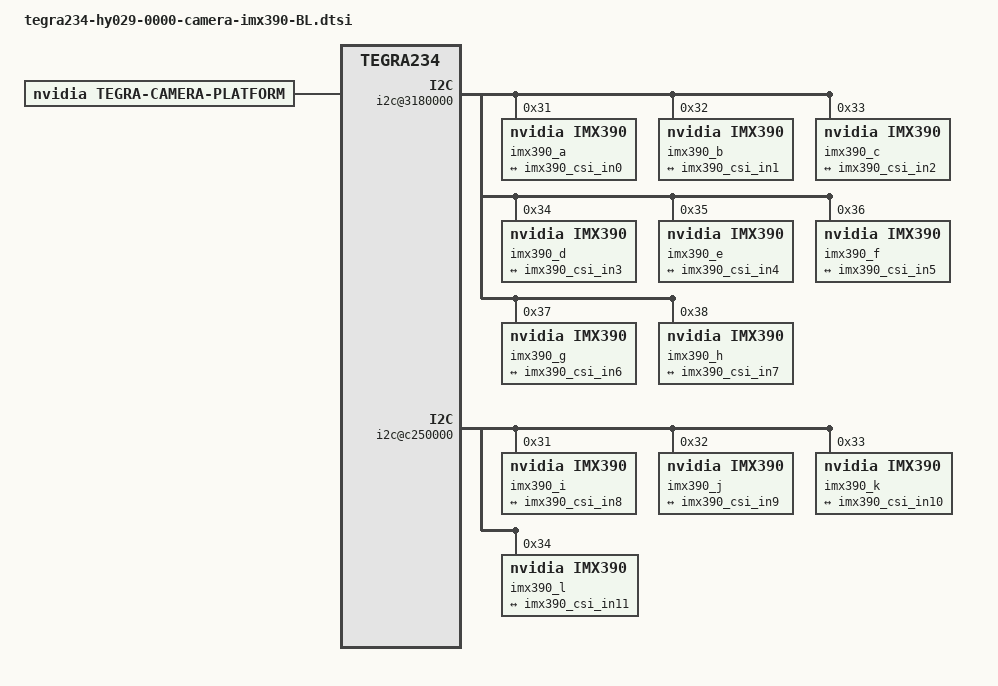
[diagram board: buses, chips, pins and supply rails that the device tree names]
/*
 * Copyright (c) 2018, NVIDIA CORPORATION.  All rights reserved.
 *
 * This program is free software; you can redistribute it and/or modify
 * it under the terms of the GNU General Public License as published by
 * the Free Software Foundation; either version 2 of the License, or
 * (at your option) any later version.
 *
 * This program is distributed in the hope that it will be useful, but WITHOUT
 * ANY WARRANTY; without even the implied warranty of MERCHANTABILITY or
 * FITNESS FOR A PARTICULAR PURPOSE.  See the GNU General Public License for
 * more details.
 *
 * You should have received a copy of the GNU General Public License
 * along with this program.  If not, see <http://www.gnu.org/licenses/>.
 */



/ {
		tegra-capture-vi {
			num-channels = <12>;
			/*num-channels = <8>;*/
			/*num-channels = <4>;*/
			ports {
				#address-cells = <1>;
				#size-cells = <0>;
            #if 1
				port@0 {
					reg = <0>;
					imx390_vi_in0: endpoint {
						devnode = "video1";
						vc-id = <0>;
						/*
						 * Port index is used to specify the connection between two different modules. 
						 * For the VI (video input) module, the port index represents the input stream. 
						 * For the CSI module, it represents the actual CSI port to which the camera is connected.
						 * see diagram for details.
						*/
						port-index = <0>;
						/* Number of CSI lanes connected to sensor; determines the bus width. */
						bus-width = <4>;
						remote-endpoint = <&imx390_csi_out0>;
					};
				};
				port@1 {
					reg = <1>;
					imx390_vi_in1: endpoint {
						devnode = "video0";
						vc-id = <1>;
						port-index = <0>;
						bus-width = <4>;
						remote-endpoint = <&imx390_csi_out1>;
					};
				};
				port@2 {
					reg = <2>;
					imx390_vi_in2: endpoint {
						devnode = "video3";
						vc-id = <2>;
						port-index = <0>;
						bus-width = <4>;
						remote-endpoint = <&imx390_csi_out2>;
					};
				};
				port@3 {
					reg = <3>;
					imx390_vi_in3: endpoint {
						devnode = "video2";
						vc-id = <3>;
						port-index = <0>;
						bus-width = <4>;
						remote-endpoint = <&imx390_csi_out3>;
					};
				};
            #endif
            #if 1
				port@4 {
					reg = <4>;
					imx390_vi_in4: endpoint {
						devnode = "video9";
						vc-id = <0>;
						port-index = <2>;
						bus-width = <4>;
						remote-endpoint = <&imx390_csi_out4>;
					};
				};
				port@5 {
					reg = <5>;
					imx390_vi_in5: endpoint {
						devnode = "video8";
						vc-id = <1>;
						port-index = <2>;
						bus-width = <4>;
						remote-endpoint = <&imx390_csi_out5>;
					};
				};	
				port@6 {
					reg = <6>;
					imx390_vi_in6: endpoint {
						devnode = "video11";
						vc-id = <2>;
						port-index = <2>;
						bus-width = <4>;
						remote-endpoint = <&imx390_csi_out6>;
					};
				};
				port@7 {
					reg = <7>;
					imx390_vi_in7: endpoint {
						devnode = "video10";
						vc-id = <3>;
						port-index = <2>;
						bus-width = <4>;
						remote-endpoint = <&imx390_csi_out7>;
					};
				};
            #endif

            #if 1
				port@8 {
					reg = <8>;
					imx390_vi_in8: endpoint {
						devnode = "video5";
						vc-id = <0>;
						port-index = <4>;
						bus-width = <4>;
						remote-endpoint = <&imx390_csi_out8>;
					};
				};
				port@9 {
					reg = <9>;
					imx390_vi_in9: endpoint {
						devnode = "video4";
						vc-id = <1>;
						port-index = <4>;
						bus-width = <4>;
						remote-endpoint = <&imx390_csi_out9>;
					};
				};	
				port@a {
					reg = <0xa>;
					imx390_vi_in10: endpoint {
						devnode = "video7";
						vc-id = <2>;
						port-index = <4>;
						bus-width = <4>;
						remote-endpoint = <&imx390_csi_out10>;
					};
				};
				port@b {
					reg = <0xb>;
					imx390_vi_in11: endpoint {
						devnode = "video6";
						vc-id = <3>;
						port-index = <4>;
						bus-width = <4>;
						remote-endpoint = <&imx390_csi_out11>;
					};
				};
            #endif
			};
		};

	host1x@13e00000 {
		nvcsi@15a00000 {
			num-channels = <12>;
			/*num-channels = <8>;*/
			/*num-channels = <4>;*/
			#address-cells = <1>;
			#size-cells = <0>;
        #if 1
			channel@0 {
				reg = <0>;
				ports {
					#address-cells = <1>;
					#size-cells = <0>;
					port@0 {
						reg = <0>;
						imx390_csi_in0: endpoint@0 {
						/*
						 * Port index is used to specify the connection between two different modules. 
						 * For the VI (video input) module, the port index represents the input stream. 
						 * For the CSI module, it represents the actual CSI port to which the camera is connected.
						 * see diagram for details.
						*/
							port-index = <0>;
							bus-width = <4>;
							remote-endpoint = <&imx390_imx390_out0>;
						};
					};

					port@1 {
						reg = <1>;
						imx390_csi_out0: endpoint@1 {
							remote-endpoint = <&imx390_vi_in0>;
						};
					};

				};
			};
			channel@1 {
				reg = <1>;
				ports {
					#address-cells = <1>;
					#size-cells = <0>;
					port@0 {
						reg = <0>;
						imx390_csi_in1: endpoint@2 {
							port-index = <0>;
							bus-width = <4>;
							remote-endpoint = <&imx390_imx390_out1>;
						};
					};
					port@1 {
						reg = <1>;
						imx390_csi_out1: endpoint@3 {
							remote-endpoint = <&imx390_vi_in1>;
						};
					};
				};
			};
			channel@2 {
				reg = <2>;
				ports {
					#address-cells = <1>;
					#size-cells = <0>;
					port@0 {
						reg = <0>;
						imx390_csi_in2: endpoint@4 {
							port-index = <0>;
							bus-width = <4>;
							remote-endpoint = <&imx390_imx390_out2>;
						};
					};
					port@1 {
						reg = <1>;
						imx390_csi_out2: endpoint@5 {
							remote-endpoint = <&imx390_vi_in2>;
						};
					};
				};
			};
			channel@3 {
				reg = <3>;
				ports {
					#address-cells = <1>;
					#size-cells = <0>;
					port@0 {
						reg = <0>;
						imx390_csi_in3: endpoint@6 {
							port-index = <0>;
							bus-width = <4>;
							remote-endpoint = <&imx390_imx390_out3>;
						};
					};
					port@1 {
						reg = <1>;
						imx390_csi_out3: endpoint@7 {
							remote-endpoint = <&imx390_vi_in3>;
						};
					};
				};
			};
        #endif
        #if 1
			channel@4 {
				reg = <4>;
				ports {
					#address-cells = <1>;
					#size-cells = <0>;
					port@0 {
						reg = <0>;
						imx390_csi_in4: endpoint@8 {
							/*port-index = <6>;*/
							port-index = <2>;
							bus-width = <4>;
							remote-endpoint = <&imx390_imx390_out4>;
						};
					};

					port@1 {
						reg = <1>;
						imx390_csi_out4: endpoint@9 {
							remote-endpoint = <&imx390_vi_in4>;
						};
					};

				};
			};
			channel@5 {
				reg = <5>;
				ports {
					#address-cells = <1>;
					#size-cells = <0>;
					port@0 {
						reg = <0>;
						imx390_csi_in5: endpoint@10 {
							port-index = <2>;
							bus-width = <4>;
							remote-endpoint = <&imx390_imx390_out5>;
						};
					};
					port@1 {
						reg = <1>;
						imx390_csi_out5: endpoint@11 {
							remote-endpoint = <&imx390_vi_in5>;
						};
					};
				};
			};
			channel@6 {
				reg = <6>;
				ports {
					#address-cells = <1>;
					#size-cells = <0>;
					port@0 {
						reg = <0>;
						imx390_csi_in6: endpoint@12 {
							port-index = <2>;
							bus-width = <4>;
							remote-endpoint = <&imx390_imx390_out6>;
						};
					};
					port@1 {
						reg = <1>;
						imx390_csi_out6: endpoint@13 {
							remote-endpoint = <&imx390_vi_in6>;
						};
					};
				};
			};
			channel@7 {
				reg = <7>;
				ports {
					#address-cells = <1>;
					#size-cells = <0>;
					port@0 {
						reg = <0>;
						imx390_csi_in7: endpoint@14 {
							port-index = <2>;
							bus-width = <4>;
							remote-endpoint = <&imx390_imx390_out7>;
						};
					};
					port@1 {
						reg = <1>;
						imx390_csi_out7: endpoint@15 {
							remote-endpoint = <&imx390_vi_in7>;
						};
					};
				};
			};
        #endif
        #if 1
			channel@8 {
				reg = <8>;
				ports {
					#address-cells = <1>;
					#size-cells = <0>;
					port@0 {
						reg = <0>;
						imx390_csi_in8: endpoint@16 {
							port-index = <4>;
							bus-width = <4>;
							remote-endpoint = <&imx390_imx390_out8>;
						};
					};

					port@1 {
						reg = <1>;
						imx390_csi_out8: endpoint@17 {
							remote-endpoint = <&imx390_vi_in8>;
						};
					};

				};
			};
			channel@9 {
				reg = <9>;
				ports {
					#address-cells = <1>;
					#size-cells = <0>;
					port@0 {
						reg = <0>;
						imx390_csi_in9: endpoint@18 {
							port-index = <4>;
							bus-width = <4>;
							remote-endpoint = <&imx390_imx390_out9>;
						};
					};
					port@1 {
						reg = <1>;
						imx390_csi_out9: endpoint@19 {
							remote-endpoint = <&imx390_vi_in9>;
						};
					};
				};
			};
			channel@a {
				reg = <0xa>;
				ports {
					#address-cells = <1>;
					#size-cells = <0>;
					port@0 {
						reg = <0>;
						imx390_csi_in10: endpoint@20 {
							port-index = <4>;
							bus-width = <4>;
							remote-endpoint = <&imx390_imx390_out10>;
						};
					};
					port@1 {
						reg = <1>;
						imx390_csi_out10: endpoint@21 {
							remote-endpoint = <&imx390_vi_in10>;
						};
					};
				};
			};
			channel@b {
				reg = <0xb>;
				ports {
					#address-cells = <1>;
					#size-cells = <0>;
					port@0 {
						reg = <0>;
						imx390_csi_in11: endpoint@22 {
							port-index = <4>;
							bus-width = <4>;
							remote-endpoint = <&imx390_imx390_out11>;
						};
					};
					port@1 {
						reg = <1>;
						imx390_csi_out11: endpoint@23 {
							remote-endpoint = <&imx390_vi_in11>;
						};
					};
				};
			};
        #endif
		};

	};

	i2c@3180000 {

			imx390_a@31 {
				compatible = "nvidia,imx390";
				reg = <0x31>;
				physical_w = "15.0";
				physical_h = "12.5";
				//def-mode = <0>;
				sensor_model ="imx390-BL";
				post_crop_frame_drop = "0";
				use_decibel_gain = "true";
				delayed_gain = "true";
				//use_sensor_mode_id = "true";
				mode0 {
					mclk_khz = "24000";
					num_lanes = "4";
					/* enable dphy */
					phy_mode = "DPHY";
					tegra_sinterface = "serial_a";
					vc_id = "0";
					discontinuous_clk = "no";
					dpcm_enable = "false";
					cil_settletime = "0";
					dynamic_pixel_bit_depth = "12";
					csi_pixel_bit_depth = "12";
					mode_type = "bayer";
					pixel_phase = "rggb";
					active_w = "1920";
					active_h = "1080";
					//pixel_t = "yuv_yuyv16";
					readout_orientation = "0";
					line_length = "2200";
					inherent_gain = "1";
					pix_clk_hz = "74250000";
					serdes_pix_clk_hz = "200000000";
					gain_factor = "10";
					min_gain_val = "0"; /* dB */
					max_gain_val = "300"; /* dB */
					step_gain_val = "3"; /* 0.3 */
					default_gain = "0";
					min_hdr_ratio = "1";
					max_hdr_ratio = "1";
					framerate_factor = "1000000";
					min_framerate = "30000000";
					max_framerate = "30000000";
					step_framerate = "1";
					default_framerate = "30000000";
					exposure_factor = "1000000";
					min_exp_time = "59"; /*us, 2 lines*/
					max_exp_time = "33333";
					step_exp_time = "1";
					default_exp_time = "33333";/* us */
					embedded_metadata_height = "0";
				};
				ports {
					#address-cells = <1>;
					#size-cells = <0>;
					port@0 {
						reg = <0>;
						imx390_imx390_out0: endpoint {
							vc-id = <0>;
							port-index = <0>;
							bus-width = <4>;
							remote-endpoint = <&imx390_csi_in0>;
							};
						};
					};
				gmsl-link {
					src-csi-port = "b";
					dst-csi-port = "b";
					serdes-csi-link = "a";
					csi-mode = "1x4";
					st-vc = <0>;
					vc-id = <0>;
					num-lanes = <4>;
					streams = "raw12";
					};
				};
			imx390_b@32 {
				compatible = "nvidia,imx390";
				reg = <0x32>;
				physical_w = "15.0";
				physical_h = "12.5";
				//def-mode = <0>;
				sensor_model ="imx390-BL";
				post_crop_frame_drop = "0";
				use_decibel_gain = "true";
				delayed_gain = "true";
				//use_sensor_mode_id = "true";
				mode0 {
					mclk_khz = "24000";
					num_lanes = "4";
					phy_mode = "DPHY";
					tegra_sinterface = "serial_a";
					vc_id = "1";
					discontinuous_clk = "no";
					dpcm_enable = "false";
					cil_settletime = "0";
					dynamic_pixel_bit_depth = "12";
					csi_pixel_bit_depth = "12";
					mode_type = "bayer";
					pixel_phase = "rggb";
					active_w = "1920";
					active_h = "1080";
					//pixel_t = "yuv_yuyv16";
					readout_orientation = "0";
					line_length = "2200";
					inherent_gain = "1";
					pix_clk_hz = "74250000";
					serdes_pix_clk_hz = "200000000";
					gain_factor = "10";
					min_gain_val = "0"; /* dB */
					max_gain_val = "300"; /* dB */
					step_gain_val = "3"; /* 0.3 */
					default_gain = "0";
					min_hdr_ratio = "1";
					max_hdr_ratio = "1";
					framerate_factor = "1000000";
					min_framerate = "30000000";
					max_framerate = "30000000";
					step_framerate = "1";
					default_framerate = "30000000";
					exposure_factor = "1000000";
					min_exp_time = "59"; /*us, 2 lines*/
					max_exp_time = "33333";
					step_exp_time = "1";
					default_exp_time = "33333";/* us */
					embedded_metadata_height = "0";
				};
				ports {
					#address-cells = <1>;
					#size-cells = <0>;
					port@0 {
						reg = <0>;
						imx390_imx390_out1: endpoint {
							vc-id = <1>;
							port-index = <0>;
							bus-width = <4>;
							remote-endpoint = <&imx390_csi_in1>;
							};
						};
					};
				gmsl-link {
					src-csi-port = "b";
					dst-csi-port = "b";
					serdes-csi-link = "b";
					csi-mode = "1x4";
					st-vc = <0>;
					vc-id = <1>;
					num-lanes = <4>;
					streams = "raw12";
					};
				};

			imx390_c@33 {
				compatible = "nvidia,imx390";
				reg = <0x33>;
				physical_w = "15.0";
				physical_h = "12.5";
				//def-mode = <0>;
				sensor_model ="imx390-BL";
				post_crop_frame_drop = "0";
				use_decibel_gain = "true";
				delayed_gain = "true";
				//use_sensor_mode_id = "true";
				mode0 {
					mclk_khz = "24000";
					num_lanes = "4";
					phy_mode = "DPHY";
					tegra_sinterface = "serial_a";
					vc_id = "2";
					discontinuous_clk = "no";
					dpcm_enable = "false";
					cil_settletime = "0";
					dynamic_pixel_bit_depth = "12";
					csi_pixel_bit_depth = "12";
					mode_type = "bayer";
					pixel_phase = "rggb";
					active_w = "1920";
					active_h = "1080";
					//pixel_t = "yuv_yuyv16";
					readout_orientation = "0";
					line_length = "2200";
					inherent_gain = "1";
					pix_clk_hz = "74250000";
					serdes_pix_clk_hz = "200000000";
					gain_factor = "10";
					min_gain_val = "0"; /* dB */
					max_gain_val = "300"; /* dB */
					step_gain_val = "3"; /* 0.3 */
					default_gain = "0";
					min_hdr_ratio = "1";
					max_hdr_ratio = "1";
					framerate_factor = "1000000";
					min_framerate = "30000000";
					max_framerate = "30000000";
					step_framerate = "1";
					default_framerate = "30000000";
					exposure_factor = "1000000";
					min_exp_time = "59"; /*us, 2 lines*/
					max_exp_time = "33333";
					step_exp_time = "1";
					default_exp_time = "33333";/* us */
					embedded_metadata_height = "0";
				};
				ports {
					#address-cells = <1>;
					#size-cells = <0>;
					port@0 {
						reg = <0>;
						imx390_imx390_out2: endpoint {
							vc-id = <2>;
							port-index = <0>;
							bus-width = <4>;
							remote-endpoint = <&imx390_csi_in2>;
							};
						};
					};
				gmsl-link {
					src-csi-port = "b";
					dst-csi-port = "b";
					serdes-csi-link = "c";
					csi-mode = "1x4";
					st-vc = <0>;
					vc-id = <2>;
					num-lanes = <4>;
					streams = "raw12";
					};
				};

			imx390_d@34{
				compatible = "nvidia,imx390";
				reg = <0x34>;
				physical_w = "15.0";
				physical_h = "12.5";
				//def-mode = <0>;
				sensor_model ="imx390-BL";
				post_crop_frame_drop = "0";
				use_decibel_gain = "true";
				delayed_gain = "true";
				//use_sensor_mode_id = "true";
				mode0 {
					mclk_khz = "24000";
					num_lanes = "4";
					phy_mode = "DPHY";
					tegra_sinterface = "serial_a";
					vc_id = "3";
					discontinuous_clk = "no";
					dpcm_enable = "false";
					cil_settletime = "0";
					dynamic_pixel_bit_depth = "12";
					csi_pixel_bit_depth = "12";
					mode_type = "bayer";
					pixel_phase = "rggb";
					active_w = "1920";
					active_h = "1080";
					//pixel_t = "yuv_yuyv16";
					readout_orientation = "0";
					line_length = "2200";
					inherent_gain = "1";
					pix_clk_hz = "74250000";
					serdes_pix_clk_hz = "200000000";
					gain_factor = "10";
					min_gain_val = "0"; /* dB */
					max_gain_val = "300"; /* dB */
					step_gain_val = "3"; /* 0.3 */
					default_gain = "0";
					min_hdr_ratio = "1";
					max_hdr_ratio = "1";
					framerate_factor = "1000000";
					min_framerate = "30000000";
					max_framerate = "30000000";
					step_framerate = "1";
					default_framerate = "30000000";
					exposure_factor = "1000000";
					min_exp_time = "59"; /*us, 2 lines*/
					max_exp_time = "33333";
					step_exp_time = "1";
					default_exp_time = "33333";/* us */
					embedded_metadata_height = "0";
				};
				ports {
					#address-cells = <1>;
					#size-cells = <0>;
					port@0 {
						reg = <0>;
						imx390_imx390_out3: endpoint {
							vc-id = <3>;
							port-index = <0>;
							bus-width = <4>;
							remote-endpoint = <&imx390_csi_in3>;
							};
						};
					};
				gmsl-link {
					src-csi-port = "b";
					dst-csi-port = "b";
					serdes-csi-link = "d";
					csi-mode = "1x4";
					st-vc = <0>;
					vc-id = <3>;
					num-lanes = <4>;
					streams = "raw12";
					};
				};
	};
    #if 1
	i2c@3180000 {
			imx390_e@35 {
				compatible = "nvidia,imx390";
				reg = <0x35>;
				physical_w = "15.0";
				physical_h = "12.5";
				//def-mode = <0>;
				sensor_model ="imx390-BL";
				post_crop_frame_drop = "0";
				use_decibel_gain = "true";
				delayed_gain = "true";
				//use_sensor_mode_id = "true";
				mode0 {
					mclk_khz = "24000";
					num_lanes = "4";
					phy_mode = "DPHY";
					/*tegra_sinterface = "serial_g";*/
					tegra_sinterface = "serial_c";
					vc_id = "0";
					discontinuous_clk = "no";
					dpcm_enable = "false";
					cil_settletime = "0";
					dynamic_pixel_bit_depth = "12";
					csi_pixel_bit_depth = "12";
					mode_type = "bayer";
					pixel_phase = "rggb";
					active_w = "1920";
					active_h = "1080";
					//pixel_t = "yuv_yuyv16";
					readout_orientation = "0";
					line_length = "2200";
					inherent_gain = "1";
					pix_clk_hz = "74250000";
					serdes_pix_clk_hz = "200000000";
					gain_factor = "10";
					min_gain_val = "0"; /* dB */
					max_gain_val = "300"; /* dB */
					step_gain_val = "3"; /* 0.3 */
					default_gain = "0";
					min_hdr_ratio = "1";
					max_hdr_ratio = "1";
					framerate_factor = "1000000";
					min_framerate = "30000000";
					max_framerate = "30000000";
					step_framerate = "1";
					default_framerate = "30000000";
					exposure_factor = "1000000";
					min_exp_time = "59"; /*us, 2 lines*/
					max_exp_time = "33333";
					step_exp_time = "1";
					default_exp_time = "33333";/* us */
					embedded_metadata_height = "0";
				};
				ports {
					#address-cells = <1>;
					#size-cells = <0>;
					port@0 {
						reg = <0>;
						imx390_imx390_out4: endpoint {
							vc-id = <0>;
							port-index = <2>;
							bus-width = <4>;
							remote-endpoint = <&imx390_csi_in4>;
							};
						};
					};
				gmsl-link {
					src-csi-port = "b";
					dst-csi-port = "b";
					serdes-csi-link = "a";
					csi-mode = "1x4";
					st-vc = <0>;
					vc-id = <0>;
					num-lanes = <4>;
					streams = "raw12";
					};
				};
			imx390_f@36 {
				compatible = "nvidia,imx390";
				reg = <0x36>;
				physical_w = "15.0";
				physical_h = "12.5";
				//def-mode = <0>;
				sensor_model ="imx390-BL";
				post_crop_frame_drop = "0";
				use_decibel_gain = "true";
				delayed_gain = "true";
				//use_sensor_mode_id = "true";
				mode0 {
					mclk_khz = "24000";
					num_lanes = "4";
					phy_mode = "DPHY";
					tegra_sinterface = "serial_c";
					vc_id = "1";
					discontinuous_clk = "no";
					dpcm_enable = "false";
					cil_settletime = "0";
					dynamic_pixel_bit_depth = "12";
					csi_pixel_bit_depth = "12";
					mode_type = "bayer";
					pixel_phase = "rggb";
					active_w = "1920";
					active_h = "1080";
					//pixel_t = "yuv_yuyv16";
					readout_orientation = "0";
					line_length = "2200";
					inherent_gain = "1";
					pix_clk_hz = "74250000";
					serdes_pix_clk_hz = "200000000";
					gain_factor = "10";
					min_gain_val = "0"; /* dB */
					max_gain_val = "300"; /* dB */
					step_gain_val = "3"; /* 0.3 */
					default_gain = "0";
					min_hdr_ratio = "1";
					max_hdr_ratio = "1";
					framerate_factor = "1000000";
					min_framerate = "30000000";
					max_framerate = "30000000";
					step_framerate = "1";
					default_framerate = "30000000";
					exposure_factor = "1000000";
					min_exp_time = "59"; /*us, 2 lines*/
					max_exp_time = "33333";
					step_exp_time = "1";
					default_exp_time = "33333";/* us */
					embedded_metadata_height = "0";
				};
				ports {
					#address-cells = <1>;
					#size-cells = <0>;
					port@0 {
						reg = <0>;
						imx390_imx390_out5: endpoint {
							vc-id = <1>;
							port-index = <2>;
							bus-width = <4>;
							remote-endpoint = <&imx390_csi_in5>;
							};
						};
					};
				gmsl-link {
					src-csi-port = "b";
					dst-csi-port = "b";
					serdes-csi-link = "b";
					csi-mode = "1x4";
					st-vc = <0>;
					vc-id = <1>;
					num-lanes = <4>;
					streams = "raw12";
					};
				};

			imx390_g@37 {
				compatible = "nvidia,imx390";
				reg = <0x37>;
				physical_w = "15.0";
				physical_h = "12.5";
				//def-mode = <0>;
				sensor_model ="imx390-BL";
				post_crop_frame_drop = "0";
				use_decibel_gain = "true";
				delayed_gain = "true";
				//use_sensor_mode_id = "true";
				mode0 {
					mclk_khz = "24000";
					num_lanes = "4";
					phy_mode = "DPHY";
					tegra_sinterface = "serial_c";
					vc_id = "2";
					discontinuous_clk = "no";
					dpcm_enable = "false";
					cil_settletime = "0";
					dynamic_pixel_bit_depth = "12";
					csi_pixel_bit_depth = "12";
					mode_type = "bayer";
					pixel_phase = "rggb";
					active_w = "1920";
					active_h = "1080";
					//pixel_t = "yuv_yuyv16";
					readout_orientation = "0";
					line_length = "2200";
					inherent_gain = "1";
					pix_clk_hz = "74250000";
					serdes_pix_clk_hz = "200000000";
					gain_factor = "10";
					min_gain_val = "0"; /* dB */
					max_gain_val = "300"; /* dB */
					step_gain_val = "3"; /* 0.3 */
					default_gain = "0";
					min_hdr_ratio = "1";
					max_hdr_ratio = "1";
					framerate_factor = "1000000";
					min_framerate = "30000000";
					max_framerate = "30000000";
					step_framerate = "1";
					default_framerate = "30000000";
					exposure_factor = "1000000";
					min_exp_time = "59"; /*us, 2 lines*/
					max_exp_time = "33333";
					step_exp_time = "1";
					default_exp_time = "33333";/* us */
					embedded_metadata_height = "0";
				};
				ports {
					#address-cells = <1>;
					#size-cells = <0>;
					port@0 {
						reg = <0>;
						imx390_imx390_out6: endpoint {
							vc-id = <2>;
							port-index = <2>;
							bus-width = <4>;
							remote-endpoint = <&imx390_csi_in6>;
							};
						};
					};
				gmsl-link {
					src-csi-port = "b";
					dst-csi-port = "b";
					serdes-csi-link = "c";
					csi-mode = "1x4";
					st-vc = <0>;
					vc-id = <2>;
					num-lanes = <4>;
					streams = "raw12";
					};
				};

			imx390_h@38{
				compatible = "nvidia,imx390";
				reg = <0x38>;
				physical_w = "15.0";
				physical_h = "12.5";
				//def-mode = <0>;
				sensor_model ="imx390-BL";
				post_crop_frame_drop = "0";
				use_decibel_gain = "true";
				delayed_gain = "true";
				//use_sensor_mode_id = "true";
				mode0 {
					mclk_khz = "24000";
					num_lanes = "4";
					phy_mode = "DPHY";
					tegra_sinterface = "serial_c";
					vc_id = "3";
					discontinuous_clk = "no";
					dpcm_enable = "false";
					cil_settletime = "0";
					dynamic_pixel_bit_depth = "12";
					csi_pixel_bit_depth = "12";
					mode_type = "bayer";
					pixel_phase = "rggb";
					active_w = "1920";
					active_h = "1080";
					//pixel_t = "yuv_yuyv16";
					readout_orientation = "0";
					line_length = "2200";
					inherent_gain = "1";
					pix_clk_hz = "74250000";
					serdes_pix_clk_hz = "200000000";
					gain_factor = "10";
					min_gain_val = "0"; /* dB */
					max_gain_val = "300"; /* dB */
					step_gain_val = "3"; /* 0.3 */
					default_gain = "0";
					min_hdr_ratio = "1";
					max_hdr_ratio = "1";
					framerate_factor = "1000000";
					min_framerate = "30000000";
					max_framerate = "30000000";
					step_framerate = "1";
					default_framerate = "30000000";
					exposure_factor = "1000000";
					min_exp_time = "59"; /*us, 2 lines*/
					max_exp_time = "33333";
					step_exp_time = "1";
					default_exp_time = "33333";/* us */
					embedded_metadata_height = "0";
				};
				ports {
					#address-cells = <1>;
					#size-cells = <0>;
					port@0 {
						reg = <0>;
						imx390_imx390_out7: endpoint {
							vc-id = <3>;
							port-index = <2>;
							bus-width = <4>;
							remote-endpoint = <&imx390_csi_in7>;
							};
						};
					};
				gmsl-link {
					src-csi-port = "b";
					dst-csi-port = "b";
					serdes-csi-link = "d";
					csi-mode = "1x4";
					st-vc = <0>;
					vc-id = <3>;
					num-lanes = <4>;
					streams = "raw12";
					};
				};

	};
    #endif

    #if 1
	i2c@c250000 {
			imx390_i@31 {
				compatible = "nvidia,imx390";
				reg = <0x31>;
				physical_w = "15.0";
				physical_h = "12.5";
				//def-mode = <0>;
				sensor_model ="imx390-BL";
				post_crop_frame_drop = "0";
				use_decibel_gain = "true";
				delayed_gain = "true";
				//use_sensor_mode_id = "true";
				mode0 {
					mclk_khz = "24000";
					num_lanes = "4";
					phy_mode = "DPHY";
					tegra_sinterface = "serial_e";
					vc_id = "0";
					discontinuous_clk = "no";
					dpcm_enable = "false";
					cil_settletime = "0";
					dynamic_pixel_bit_depth = "12";
					csi_pixel_bit_depth = "12";
					mode_type = "bayer";
					pixel_phase = "rggb";
					active_w = "1920";
					active_h = "1080";
					//pixel_t = "yuv_yuyv16";
					readout_orientation = "0";
					line_length = "2200";
					inherent_gain = "1";
					pix_clk_hz = "74250000";
					serdes_pix_clk_hz = "200000000";
					gain_factor = "10";
					min_gain_val = "0"; /* dB */
					max_gain_val = "300"; /* dB */
					step_gain_val = "3"; /* 0.3 */
					default_gain = "0";
					min_hdr_ratio = "1";
					max_hdr_ratio = "1";
					framerate_factor = "1000000";
					min_framerate = "30000000";
					max_framerate = "30000000";
					step_framerate = "1";
					default_framerate = "30000000";
					exposure_factor = "1000000";
					min_exp_time = "59"; /*us, 2 lines*/
					max_exp_time = "33333";
					step_exp_time = "1";
					default_exp_time = "33333";/* us */
					embedded_metadata_height = "0";
				};
				ports {
					#address-cells = <1>;
					#size-cells = <0>;
					port@0 {
						reg = <0>;
						imx390_imx390_out8: endpoint {
							vc-id = <0>;
							port-index = <4>;
							bus-width = <4>;
							remote-endpoint = <&imx390_csi_in8>;
							};
						};
					};
				gmsl-link {
					src-csi-port = "b";
					dst-csi-port = "b";
					serdes-csi-link = "a";
					csi-mode = "1x4";
					st-vc = <0>;
					vc-id = <0>;
					num-lanes = <4>;
					streams = "raw12";
					};
				};
			imx390_j@32 {
				compatible = "nvidia,imx390";
				reg = <0x32>;
				physical_w = "15.0";
				physical_h = "12.5";
				//def-mode = <0>;
				sensor_model ="imx390-BL";
				post_crop_frame_drop = "0";
				use_decibel_gain = "true";
				delayed_gain = "true";
				//use_sensor_mode_id = "true";
				mode0 {
					mclk_khz = "24000";
					num_lanes = "4";
					phy_mode = "DPHY";
					tegra_sinterface = "serial_e";
					vc_id = "1";
					discontinuous_clk = "no";
					dpcm_enable = "false";
					cil_settletime = "0";
					dynamic_pixel_bit_depth = "12";
					csi_pixel_bit_depth = "12";
					mode_type = "bayer";
					pixel_phase = "rggb";
					active_w = "1920";
					active_h = "1080";
					//pixel_t = "yuv_yuyv16";
					readout_orientation = "0";
					line_length = "2200";
					inherent_gain = "1";
					pix_clk_hz = "74250000";
					serdes_pix_clk_hz = "200000000";
					gain_factor = "10";
					min_gain_val = "0"; /* dB */
					max_gain_val = "300"; /* dB */
					step_gain_val = "3"; /* 0.3 */
					default_gain = "0";
					min_hdr_ratio = "1";
					max_hdr_ratio = "1";
					framerate_factor = "1000000";
					min_framerate = "30000000";
					max_framerate = "30000000";
					step_framerate = "1";
					default_framerate = "30000000";
					exposure_factor = "1000000";
					min_exp_time = "59"; /*us, 2 lines*/
					max_exp_time = "33333";
					step_exp_time = "1";
					default_exp_time = "33333";/* us */
					embedded_metadata_height = "0";
				};
				ports {
					#address-cells = <1>;
					#size-cells = <0>;
					port@0 {
						reg = <0>;
						imx390_imx390_out9: endpoint {
							vc-id = <1>;
							port-index = <4>;
							bus-width = <4>;
							remote-endpoint = <&imx390_csi_in9>;
							};
						};
					};
				gmsl-link {
					src-csi-port = "b";
					dst-csi-port = "b";
					serdes-csi-link = "b";
					csi-mode = "1x4";
					st-vc = <0>;
					vc-id = <1>;
					num-lanes = <4>;
					streams = "raw12";
					};
				};

			imx390_k@33 {
				compatible = "nvidia,imx390";
				reg = <0x33>;
				physical_w = "15.0";
				physical_h = "12.5";
				//def-mode = <0>;
				sensor_model ="imx390-BL";
				post_crop_frame_drop = "0";
				use_decibel_gain = "true";
				delayed_gain = "true";
				//use_sensor_mode_id = "true";
				mode0 {
					mclk_khz = "24000";
					num_lanes = "4";
					phy_mode = "DPHY";
					tegra_sinterface = "serial_e";
					vc_id = "2";
					discontinuous_clk = "no";
					dpcm_enable = "false";
					cil_settletime = "0";
					dynamic_pixel_bit_depth = "12";
					csi_pixel_bit_depth = "12";
					mode_type = "bayer";
					pixel_phase = "rggb";
					active_w = "1920";
					active_h = "1080";
					//pixel_t = "yuv_yuyv16";
					readout_orientation = "0";
					line_length = "2200";
					inherent_gain = "1";
					pix_clk_hz = "74250000";
					serdes_pix_clk_hz = "200000000";
					gain_factor = "10";
					min_gain_val = "0"; /* dB */
					max_gain_val = "300"; /* dB */
					step_gain_val = "3"; /* 0.3 */
					default_gain = "0";
					min_hdr_ratio = "1";
					max_hdr_ratio = "1";
					framerate_factor = "1000000";
					min_framerate = "30000000";
					max_framerate = "30000000";
					step_framerate = "1";
					default_framerate = "30000000";
					exposure_factor = "1000000";
					min_exp_time = "59"; /*us, 2 lines*/
					max_exp_time = "33333";
					step_exp_time = "1";
					default_exp_time = "33333";/* us */
					embedded_metadata_height = "0";
				};
				ports {
					#address-cells = <1>;
					#size-cells = <0>;
					port@0 {
						reg = <0>;
						imx390_imx390_out10: endpoint {
							vc-id = <2>;
							port-index = <4>;
							bus-width = <4>;
							remote-endpoint = <&imx390_csi_in10>;
							};
						};
					};
				gmsl-link {
					src-csi-port = "b";
					dst-csi-port = "b";
					serdes-csi-link = "c";
					csi-mode = "1x4";
					st-vc = <0>;
					vc-id = <2>;
					num-lanes = <4>;
					streams = "raw12";
					};
				};

			imx390_l@34{
				compatible = "nvidia,imx390";
				reg = <0x34>;
				physical_w = "15.0";
				physical_h = "12.5";
				//def-mode = <0>;
				sensor_model ="imx390-BL";
				post_crop_frame_drop = "0";
				use_decibel_gain = "true";
				delayed_gain = "true";
				//use_sensor_mode_id = "true";
				mode0 {
					mclk_khz = "24000";
					num_lanes = "4";
					phy_mode = "DPHY";
					tegra_sinterface = "serial_e";
					vc_id = "3";
					discontinuous_clk = "no";
					dpcm_enable = "false";
					cil_settletime = "0";
					dynamic_pixel_bit_depth = "12";
					csi_pixel_bit_depth = "12";
					mode_type = "bayer";
					pixel_phase = "rggb";
					active_w = "1920";
					active_h = "1080";
					//pixel_t = "yuv_yuyv16";
					readout_orientation = "0";
					line_length = "2200";
					inherent_gain = "1";
					pix_clk_hz = "74250000";
					serdes_pix_clk_hz = "200000000";
					gain_factor = "10";
					min_gain_val = "0"; /* dB */
					max_gain_val = "300"; /* dB */
					step_gain_val = "3"; /* 0.3 */
					default_gain = "0";
					min_hdr_ratio = "1";
					max_hdr_ratio = "1";
					framerate_factor = "1000000";
					min_framerate = "30000000";
					max_framerate = "30000000";
					step_framerate = "1";
					default_framerate = "30000000";
					exposure_factor = "1000000";
					min_exp_time = "59"; /*us, 2 lines*/
					max_exp_time = "33333";
					step_exp_time = "1";
					default_exp_time = "33333";/* us */
					embedded_metadata_height = "0";
				};
				ports {
					#address-cells = <1>;
					#size-cells = <0>;
					port@0 {
						reg = <0>;
						imx390_imx390_out11: endpoint {
							vc-id = <3>;
							port-index = <4>;
							bus-width = <4>;
							remote-endpoint = <&imx390_csi_in11>;
							};
						};
					};
				gmsl-link {
					src-csi-port = "b";
					dst-csi-port = "b";
					serdes-csi-link = "d";
					csi-mode = "1x4";
					st-vc = <0>;
					vc-id = <3>;
					num-lanes = <4>;
					streams = "raw12";
					};
				};

	};
    #endif

};

/ {

	tegra-camera-platform {
		compatible = "nvidia, tegra-camera-platform";
		/**
		* Physical settings to calculate max ISO BW
		*
		* num_csi_lanes = <>;
		* Total number of CSI lanes when all cameras are active
		*
		* max_lane_speed = <>;
		* Max lane speed in Kbit/s
		*
		* min_bits_per_pixel = <>;
		* Min bits per pixel
		*
		* vi_peak_byte_per_pixel = <>;
		* Max byte per pixel for the VI ISO case
		*
		* vi_bw_margin_pct = <>;
		* Vi bandwidth margin in percentage
		*
		* max_pixel_rate = <>;
		* Max pixel rate in Kpixel/s for the ISP ISO case
		*
		* isp_peak_byte_per_pixel = <>;
		* Max byte per pixel for the ISP ISO case
		*
		* isp_bw_margin_pct = <>;
		* Isp bandwidth margin in percentage
		*/
		num_csi_lanes = <12>;
		/*num_csi_lanes = <8>;*/
		/*num_csi_lanes = <4>;*/
		max_lane_speed = <4000000>;
		min_bits_per_pixel = <10>;
		vi_peak_byte_per_pixel = <2>;
		vi_bw_margin_pct = <25>;
		isp_peak_byte_per_pixel = <5>;
		isp_bw_margin_pct = <25>;

		/**
		 * The general guideline for naming badge_info contains 3 parts, and is as follows,
		 * The first part is the camera_board_id for the module; if the module is in a FFD
		 * platform, then use the platform name for this part.
		 * The second part contains the position of the module, ex. "rear" or "front".
		 * The third part contains the last 6 characters of a part number which is found
		 * in the module's specsheet from the vender.
		 */
		modules {

			module0 {
				badge = "nvidia_0_imx390";
				position = "0";
				orientation = "0";
				drivernode0 {
					pcl_id = "v4l2_sensor";
					devname = "imx390 2-0032";
					proc-device-tree = "/proc/device-tree/i2c@3180000/imx390_b@32";
				};
			};
			module1 {
				badge = "nvidia_1_imx390";
				position = "1";
				orientation = "0";
				drivernode0 {
					pcl_id = "v4l2_sensor";
					devname = "imx390 2-0031";
					proc-device-tree = "/proc/device-tree/i2c@3180000/imx390_a@31";
				};
			};
			module2 {
				badge = "nvidia_2_imx390";
				position = "2";
				orientation = "0";
				drivernode0 {
					pcl_id = "v4l2_sensor";
					devname = "imx390 2-0034";
					proc-device-tree = "/proc/device-tree/i2c@3180000/imx390_d@34";
				};
			};
			module3 {
				badge = "nvidia_3_imx390";
				position = "3";
				orientation = "0";
				drivernode0 {
					pcl_id = "v4l2_sensor";
					devname = "imx390 2-0033";
					proc-device-tree = "/proc/device-tree/i2c@3180000/imx390_c@33";
				};
			};
           #if 1
			module4 {
				badge = "nvidia_4_imx390";
				position = "4";
				orientation = "0";
				drivernode0 {
					pcl_id = "v4l2_sensor";
					devname = "imx390 7-0032";
					proc-device-tree = "/proc/device-tree/i2c@c250000/imx390_j@32";
				};
			};
			module5 {
				badge = "nvidia_5_imx390";
				position = "5";
				orientation = "0";
				drivernode0 {
					pcl_id = "v4l2_sensor";
					devname = "imx390 7-0031";
					proc-device-tree = "/proc/device-tree/i2c@c250000/imx390_i@31";
				};
			};
			module6 {
				badge = "nvidia_6_imx390";
				position = "6";
				orientation = "0";
				drivernode0 {
					pcl_id = "v4l2_sensor";
					devname = "imx390 7-0034";
					proc-device-tree = "/proc/device-tree/i2c@c250000/imx390_l@34";
				};
			};
			module7 {
				badge = "nvidia_7_imx390";
				position = "7";
				orientation = "0";
				drivernode0 {
					pcl_id = "v4l2_sensor";
					devname = "imx390 7-0033";
					proc-device-tree = "/proc/device-tree/i2c@c250000/imx390_k@33";
				};
			};
            #endif
           #if 1
			module8 {
				badge = "nvidia_8_imx390";
				position = "8";
				orientation = "0";
				drivernode0 {
					pcl_id = "v4l2_sensor";
					devname = "imx390 2-0036";
					proc-device-tree = "/proc/device-tree/i2c@3180000/imx390_f@36";
				};
			};
			module9 {
				badge = "nvidia_9_imx390";
				position = "9";
				orientation = "0";
				drivernode0 {
					pcl_id = "v4l2_sensor";
					devname = "imx390 2-0035";
					proc-device-tree = "/proc/device-tree/i2c@3180000/imx390_e@35";
				};
			};
			#endif
			#if 0
			module10 {
				badge = "nvidia_10_imx390";
				position = "10";
				orientation = "0";
				drivernode0 {
					pcl_id = "v4l2_sensor";
					devname = "imx390 2-0038";
					proc-device-tree = "/proc/device-tree/i2c@3180000/imx390_h@38";
				};
			};
			module11 {
				badge = "nvidia_11_imx390";
				position = "11";
				orientation = "0";
				drivernode0 {
					pcl_id = "v4l2_sensor";
					devname = "imx390 2-0037";
					proc-device-tree = "/proc/device-tree/i2c@3180000/imx390_g@37";
				};
			};
            #endif
		};
	};
};
